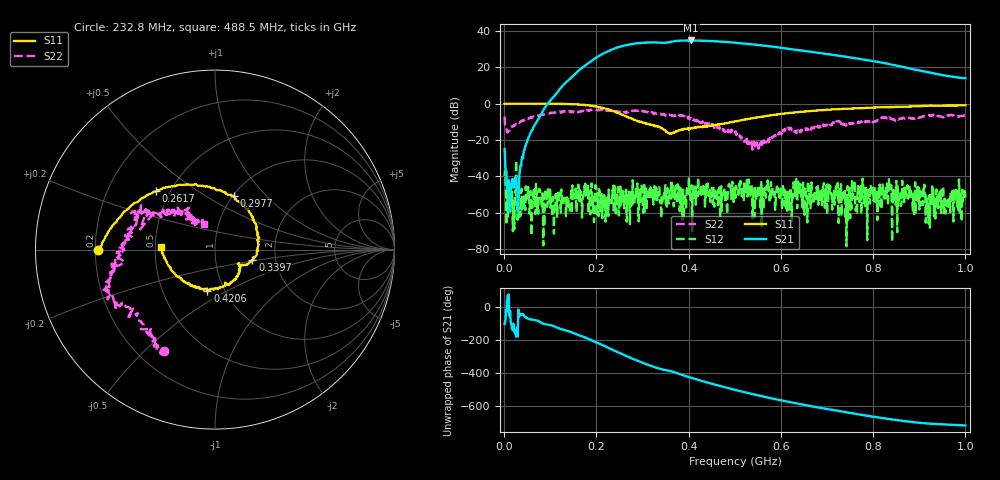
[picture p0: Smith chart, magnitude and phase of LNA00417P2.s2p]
! Created with skrf 1.9.0 (http://scikit-rf.org).
# Hz S RI R 50.0
!freq ReS11 ImS11 ReS21 ImS21 ReS12 ImS12 ReS22 ImS22
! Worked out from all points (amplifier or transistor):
!   1001 points, 1 MHz to 1 GHz, reference 50 ohm
!   highest |S21| = 34.7 dB at 405.6 MHz (marker M1)
!   |S21| within 3 dB of that: 257.4 MHz to 568.4 MHz (311 MHz wide, 75.3 % of centre)
!   unconditionally stable (mu >= 1): 206.1 MHz to 234.7 MHz; 234.8 MHz to 288.5 MHz; 288.9 MHz to end of sweep (the widest 3 of 36)
!   at 166.8 MHz: K = 1.08, MAG = 33.8 dB, |S12| = -51.6 dB
!   at 500.5 MHz: K = 2.00, MAG = 34.3 dB, |S12| = -46.5 dB
!   at 1 GHz: K = 5.92, MAG = 22.2 dB, |S12| = -51.8 dB
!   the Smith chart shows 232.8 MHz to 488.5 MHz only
!   S11 on the Smith chart (normalised r, x): 232.8 MHz: 0.21, -0.00; 261.7 MHz: 0.42, +0.35; 297.7 MHz: 1.01, +0.67; 339.7 MHz: 1.51, -0.18; 420.6 MHz: 0.83, -0.41; 488.5 MHz: 0.54, +0.02
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1000000  0.9866 0.00167  -0.0131 -0.0555  -0.0101 0.00192  0.3082 0.3189
1.08892e8  0.5331 -0.8407  -0.7685 -1.442  0.000896 0.000694  0.4096 -0.3887
1.67833e8  -0.2153 -0.909  -9.441 -0.6232  0.00233 -0.00148  0.0253 -0.6354
2.06794e8  -0.6521 -0.4601  -15.64 14.09  -0.00258 -0.00302  -0.1837 -0.6343
2.32768e8  -0.6508 -0.00398  -7.411 29.57  0.00102 0.0021  -0.2868 -0.5625
2.61739e8  -0.329 0.3252  15.06 36.65  -0.00252 -0.00131  -0.4399 -0.3605
2.97703e8  0.1047 0.2974  41.89 20.43  -0.00439 0.00408  -0.6056 -0.2153
3.16684e8  0.2251 0.1462  47.9 5.211  -0.00257 0.00257  -0.5748 -0.0926
3.34666e8  0.2318 -0.0161  46.94 -8.963  -0.00266 -0.00117  -0.5427 -0.0153
3.39661e8  0.2085 -0.0579  45.68 -11.91  0.00221 0.000293  -0.532 0.0111
3.72628e8  0.1403 -0.1018  41.93 -32.14  -0.000253 0.00385  -0.4504 0.1705
4.05595e8  0.0389 -0.2086  20.88 -50.39  0.00157 0.00252  -0.3167 0.2015
4.2058e8  -0.042 -0.2314  9.064 -53.27  -0.000692 0.00923  -0.1969 0.2102
4.5055e8  -0.1872 -0.1607  -12.34 -51.19  0.00463 -0.00144  -0.1602 0.2265
4.88512e8  -0.3014 0.0155  -32.27 -36.33  0.00588 -0.000978  -0.0617 0.1423
5.005e8  -0.3139 0.0842  -36.59 -30.33  -0.000399 0.0047  -0.0936 0.133
5.4046e8  -0.26 0.3105  -41.07 -9.647  0.00469 0.000141  -0.0751 0.0272
5.88412e8  -0.067 0.4922  -34.41 10.41  0.00014 -0.00187  -0.1161 -0.0587
6.67333e8  0.3189 0.5483  -13.28 22.58  0.000447 -0.0032  -0.2208 -0.0293
7.53247e8  0.6308 0.3793  3.492 18.03  -0.000372 0.00126  -0.2874 0.0271
8.34166e8  0.7927 0.1464  8.827 8.533  -0.00695 0.00482  -0.395 0.0713
1e9  0.8161 -0.3891  5.006 0.4512  -0.000345 -0.00255  -0.2206 0.4176
